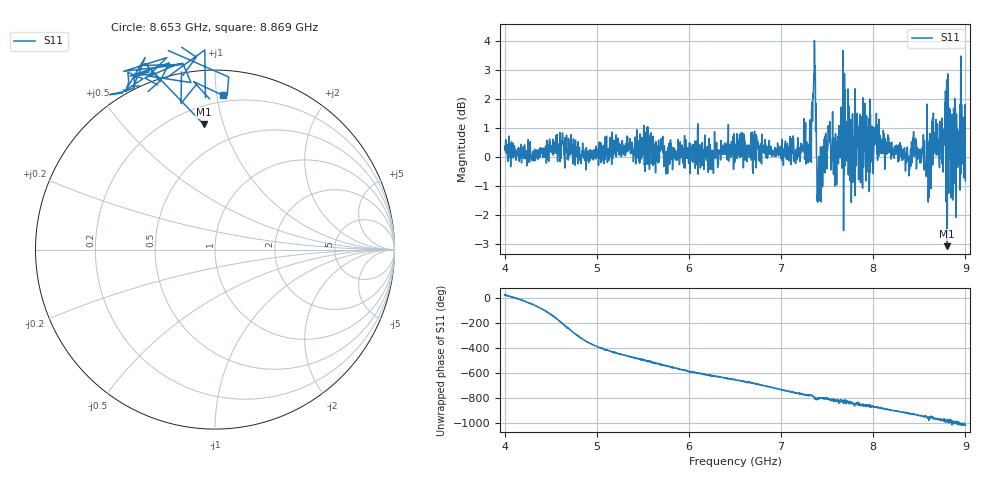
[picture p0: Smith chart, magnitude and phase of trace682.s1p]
! Created with skrf 1.8.0 (http://scikit-rf.org).
# Hz S RI R 50.0
!freq ReS11 ImS11
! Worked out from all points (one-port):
!   1601 points, 4 GHz to 9 GHz, reference 50 ohm
!   lowest |S11| = -3.1 dB at 8.803 GHz (marker M1), VSWR 5.68, Z = 15.7 + j43.2 ohm
!   |S11| at or under -10 dB: nowhere
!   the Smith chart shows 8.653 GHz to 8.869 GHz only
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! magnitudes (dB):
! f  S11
! 4 GHz  0.2
! 4.312 GHz  0.1
! 4.625 GHz  0.7
! 4.894 GHz  -0.1
! 5.25 GHz  0.4
! 5.875 GHz  -0.1
! 6.5 GHz  0.0
! 7.125 GHz  0.3
! 7.294 GHz  0.0
! 7.356 GHz  2.9
! 7.409 GHz  -0.3
! 7.509 GHz  0.4
! 7.591 GHz  0.8
! 7.65 GHz  1.7
! 7.712 GHz  -0.1
! 7.75 GHz  0.0
! 7.769 GHz  -0.7
! 7.828 GHz  1.3
! 7.981 GHz  -0.2
! 8.038 GHz  0.7
! 8.375 GHz  -0.2
! 8.441 GHz  0.0
! 8.584 GHz  1.8
! 8.656 GHz  0.1
! 8.803 GHz  -3.1
! 8.856 GHz  -0.2
! 8.972 GHz  0.6
! 9 GHz  -0.8
